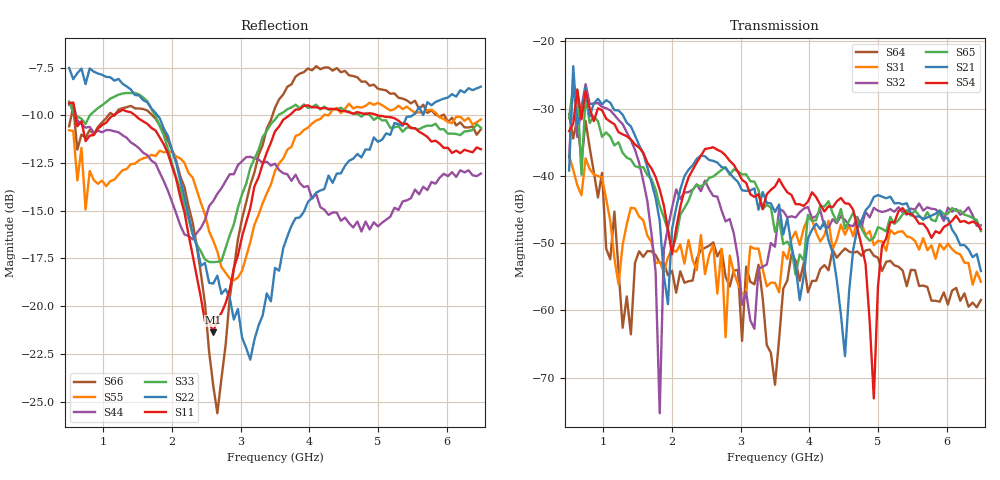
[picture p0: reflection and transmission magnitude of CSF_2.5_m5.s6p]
!Keysight Technologies,M9804A,MY58100912,A.14.10.03
!Date: Thursday, April 27, 2023 10:28:33
!Correction: S11(C  6-Port  )
!S12(C  6-Port  )
!S13(C  6-Port  )
!S14(C  6-Port  )
!S15(C  6-Port  )
!S16(C  6-Port  )
!S21(C  6-Port  )
!S22(C  6-Port  )
!S23(C  6-Port  )
!S24(C  6-Port  )
!S25(C  6-Port  )
!S26(C  6-Port  )
!S31(C  6-Port  )
!S32(C  6-Port  )
!S33(C  6-Port  )
!S34(C  6-Port  )
!S35(C  6-Port  )
!S36(C  6-Port  )
!S41(C  6-Port  )
!S42(C  6-Port  )
!S43(C  6-Port  )
!S44(C  6-Port  )
!S45(C  6-Port  )
!S46(C  6-Port  )
!S51(C  6-Port  )
!S52(C  6-Port  )
!S53(C  6-Port  )
!S54(C  6-Port  )
!S55(C  6-Port  )
!S56(C  6-Port  )
!S61(C  6-Port  )
!S62(C  6-Port  )
!S63(C  6-Port  )
!S64(C  6-Port  )
!S65(C  6-Port  )
!S66(C  6-Port  )
!S6P File: Measurement: :
# Hz S  RI  R 50
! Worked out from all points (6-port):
!   101 points, 500 MHz to 6.5 GHz, reference 50 ohm
!   strongest paths, dB at 500 MHz, 2 GHz, 3.5 GHz, 5 GHz, 6.5 GHz:
!     S54: -33.3, -51.7, -41.6, -56.5, -47.9
!     S21: -39.2, -47.9, -45.4, -42.8, -54.1
!     S65: -31.4, -51.0, -48.3, -47.6, -48.2
!     S32: -37.4, -44.7, -50.5, -45.2, -47.4
!     S31: -37.0, -51.0, -55.9, -49.7, -55.7
!     S64: -30.8, -54.1, -71.1, -52.2, -58.4
!   lowest |S11| = -21.4 dB at 2.6 GHz (marker M1), VSWR 1.19, Z = 42.4 + j2.3 ohm
!   |S11| at or under -10 dB: 592.2 MHz to 1.146 GHz (553.7 MHz wide, 63.7 % of centre); 1.461 GHz to 3.709 GHz (2.249 GHz wide, 87 % of centre); 4.989 GHz to end of sweep
